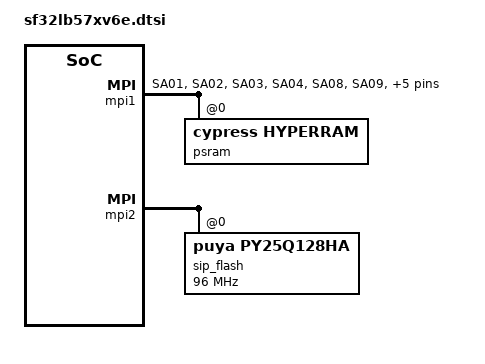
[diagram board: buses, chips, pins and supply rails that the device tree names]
// SPDX-FileCopyrightText: 2026 Core Devices LLC
// SPDX-License-Identifier: (GPL-2.0-only OR BSD-2-Clause)

#include <dt-bindings/clock/sifli,sf32lb57-hpsys-rcc.h>

&pinctrl {
	mpi1_default: mpi1-default-state {
		dio0-pins {
			pins = "SA01";
			function = "mpi1_dio0";
			input-enable;
			drive-strength = <8>;
			bias-pull-down;
		};

		dio1-pins {
			pins = "SA02";
			function = "mpi1_dio1";
			input-enable;
			drive-strength = <8>;
			bias-pull-down;
		};

		dio2-pins {
			pins = "SA03";
			function = "mpi1_dio2";
			input-enable;
			drive-strength = <8>;
			bias-pull-down;
		};

		dio3-pins {
			pins = "SA04";
			function = "mpi1_dio3";
			input-enable;
			drive-strength = <8>;
			bias-pull-down;
		};

		dio4-pins {
			pins = "SA08";
			function = "mpi1_dio4";
			input-enable;
			drive-strength = <8>;
			bias-pull-down;
		};

		dio5-pins {
			pins = "SA09";
			function = "mpi1_dio5";
			input-enable;
			drive-strength = <8>;
			bias-pull-down;
		};

		dio6-pins {
			pins = "SA10";
			function = "mpi1_dio6";
			input-enable;
			drive-strength = <8>;
			bias-pull-down;
		};

		dio7-pins {
			pins = "SA11";
			function = "mpi1_dio7";
			input-enable;
			drive-strength = <8>;
			bias-pull-down;
		};

		clk-pins {
			pins = "SA07";
			function = "mpi1_clk";
			input-enable;
			drive-strength = <8>;
		};

		cs-pins {
			pins = "SA05";
			function = "mpi1_cs";
			input-enable;
			drive-strength = <8>;
		};

		dqsdm-pins {
			pins = "SA12";
			function = "mpi1_dqsdm";
			input-enable;
			drive-strength = <8>;
		};
	};
};

&mpi1 {
	pinctrl-0 = <&mpi1_default>;
	pinctrl-names = "default";
	assigned-clocks = <&hpsys_rcc SF32LB57_HPSYS_RCC_CLK_MPI1_K>;
	assigned-clock-parents = <&hpsys_rcc SF32LB57_HPSYS_RCC_CLK_DLL1>;

	psram: psram@0 {
		compatible = "cypress,hyperram";
		reg = <0>;
	};
};

// DLL2 clocks the boot flash, which moves to it once it is running
&hpsys_rcc {
	assigned-clocks = <&hpsys_rcc SF32LB57_HPSYS_RCC_CLK_DLL1>,
			  <&hpsys_rcc SF32LB57_HPSYS_RCC_CLK_DLL2>,
			  <&hpsys_rcc SF32LB57_HPSYS_RCC_CLK_SYS>,
			  <&hpsys_rcc SF32LB57_HPSYS_RCC_CLK_HCLK>,
			  <&hpsys_rcc SF32LB57_HPSYS_RCC_CLK_PCLK>,
			  <&hpsys_rcc SF32LB57_HPSYS_RCC_CLK_PCLK2>;
	assigned-clock-parents = <0>, <0>, <&hpsys_rcc SF32LB57_HPSYS_RCC_CLK_DLL1>,
				 <0>, <0>, <0>;
	assigned-clock-rates = <240000000>, <288000000>, <0>, <240000000>, <120000000>,
			       <3750000>;
};

&mpi2 {
	assigned-clocks = <&hpsys_rcc SF32LB57_HPSYS_RCC_CLK_MPI2_K>;
	assigned-clock-parents = <&hpsys_rcc SF32LB57_HPSYS_RCC_CLK_DLL2>;

	sip_flash: flash@0 {
		compatible = "puya,py25q128ha", "jedec,spi-nor";
		reg = <0>;
		spi-max-frequency = <96000000>;
		spi-rx-bus-width = <4>;
		spi-tx-bus-width = <4>;
	};
};
